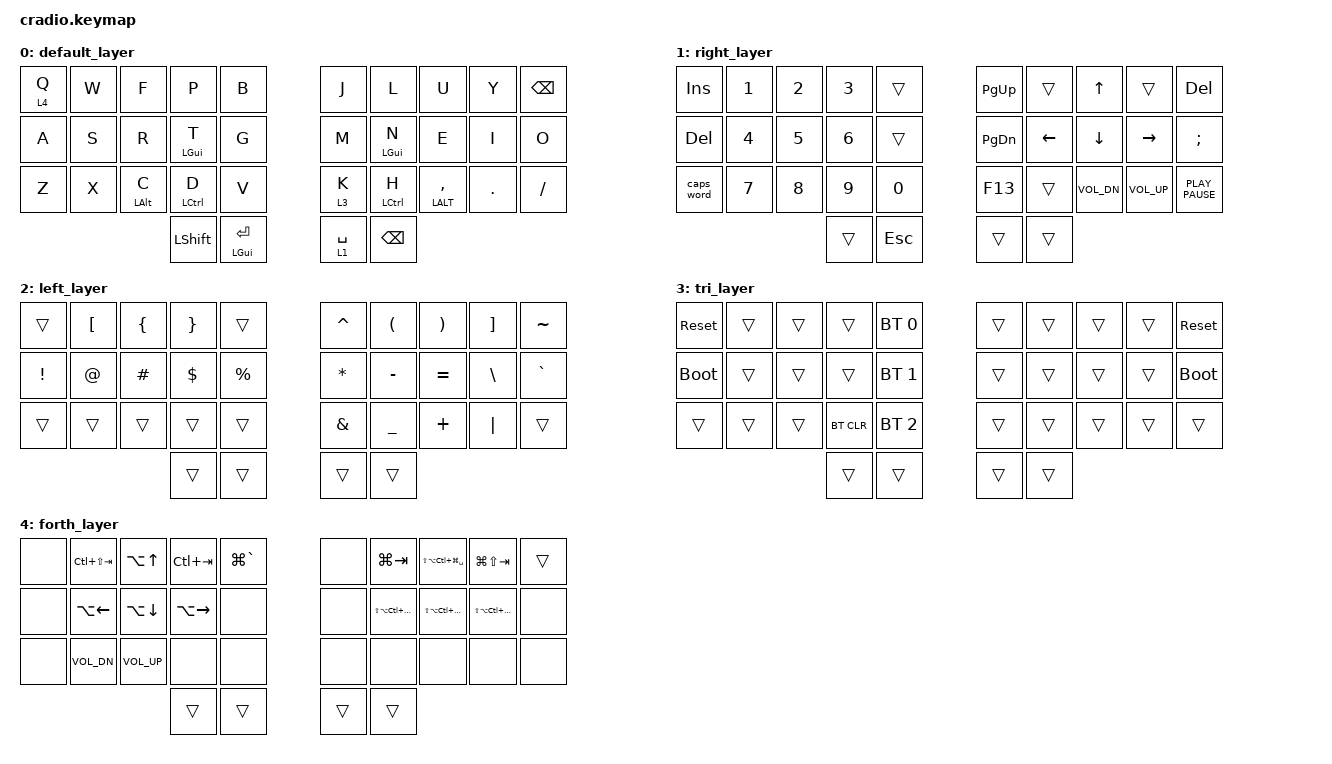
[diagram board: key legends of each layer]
// Copyright (c) 2022 The ZMK Contributors
// SPDX-License-Identifier: MIT

#include <behaviors.dtsi>
#include <dt-bindings/zmk/keys.h>
#include <dt-bindings/zmk/bt.h>

// Home row mods macro
#define HRML(k1,k2,k3,k4) &ht LSHFT k1  &ht LALT k2  &ht LCTRL k3  &ht LGUI k4
#define HRMR(k1,k2,k3,k4) &ht RGUI k1  &ht RCTRL k2  &ht RALT k3  &ht RSHFT k4



/ {

    behaviors {
        ht: hold_tap {
            compatible = "zmk,behavior-hold-tap";
            #binding-cells = <2>;
            flavor = "balanced";
            tapping-term-ms = <200>;
            quick-tap-ms = <125>;
            bindings = <&kp>, <&kp>;
            require-prior-idle-ms = <225>; 
        };
    };


   combos {
        compatible = "zmk,combos";
        combo_esc {
            timeout-ms = <50>;
            key-positions = <2 3>;
            bindings = <&kp ESC>;
        };
        combo_tab {
            timeout-ms = <50>;
            key-positions = <1 3>;
            bindings = <&kp TAB>;
        };
    };


    keymap {
        compatible = "zmk,keymap";
        default_layer {
            bindings = <
        //╭──────────┬──────────┬──────────┬──────────┬──────────╮   ╭──────────┬──────────┬──────────┬──────────┬──────────╮
            &lt 4 Q      &kp W      &kp F     &kp P      &kp B          &kp J      &kp L      &kp U      &kp Y      &kp BSPC
        //├──────────┼──────────┼──────────┼──────────┼──────────┤   ├──────────┼──────────┼──────────┼──────────┼──────────┤
            &kp A        &kp S        &kp  R        &ht LGUI  T     &kp G          &kp M   &ht LGUI N   &kp E   &kp I   &kp O      
        //├──────────┼──────────┼──────────┼──────────┼──────────┤   ├──────────┼──────────┼──────────┼──────────┼──────────┤
            &kp Z      &kp X      &ht LALT C      &ht LCTRL D      &kp V          &lt 3 K      &ht LCTRL H      &lt LALT COMMA  &kp DOT    &kp FSLH
        //╰──────────┴──────────┴──────────┼──────────┼──────────┤   ├──────────┼──────────┼──────────┴──────────┴──────────╯
                                      &kp LSHFT   &ht LGUI ENTER     &lt 1 SPACE  &kp BSPC
        //                                 ╰──────────┴──────────╯   ╰──────────┴──────────╯
            >;
        };

        right_layer {
            bindings = <
        //╭──────────┬──────────┬──────────┬──────────┬──────────╮   ╭──────────┬──────────┬──────────┬──────────┬──────────╮
            &kp INS    &kp N1     &kp N2     &kp N3     &trans         &kp PG_UP   &trans  &kp UP  &trans    &kp DEL
        //├──────────┼──────────┼──────────┼──────────┼──────────┤   ├──────────┼──────────┼──────────┼──────────┼──────────┤
            &kp DEL    &kp N4     &kp N5     &kp N6     &trans         &kp PG_DN   &kp LEFT   &kp DOWN   &kp RIGHT   &kp SEMI
        //├──────────┼──────────┼──────────┼──────────┼──────────┤   ├──────────┼──────────┼──────────┼──────────┼──────────┤
           &caps_word  &kp N7     &kp N8     &kp N9     &kp N0         &kp F13     &trans     &kp C_VOL_DN     &kp C_VOL_UP     &kp K_PLAY_PAUSE
        //╰──────────┴──────────┴──────────┼──────────┼──────────┤   ├──────────┼──────────┼──────────┴──────────┴──────────╯
                                             &trans     &kp ESC        &trans     &trans
        //                                 ╰──────────┴──────────╯   ╰──────────┴──────────╯
            >;
        };

        left_layer {
            bindings = <
        //╭──────────┬──────────┬──────────┬──────────┬──────────╮   ╭──────────┬──────────┬──────────┬──────────┬──────────╮
            &trans     &kp LBKT   &kp LBRC   &kp RBRC   &trans         &kp CARET  &kp LPAR   &kp RPAR   &kp RBKT   &kp TILDE
        //├──────────┼──────────┼──────────┼──────────┼──────────┤   ├──────────┼──────────┼──────────┼──────────┼──────────┤
            &kp EXCL   &kp AT     &kp HASH   &kp DLLR   &kp PRCNT      &kp ASTRK  &kp MINUS  &kp EQUAL  &kp BSLH   &kp GRAVE
        //├──────────┼──────────┼──────────┼──────────┼──────────┤   ├──────────┼──────────┼──────────┼──────────┼──────────┤
            &trans     &trans     &trans     &trans     &trans         &kp AMPS   &kp UNDER  &kp PLUS   &kp PIPE   &trans
        //╰──────────┴──────────┴──────────┼──────────┼──────────┤   ├──────────┼──────────┼──────────┴──────────┴──────────╯
                                             &trans     &trans         &trans     &trans
        //                                 ╰──────────┴──────────╯   ╰──────────┴──────────╯
            >;
        };

        tri_layer {
            bindings = <
        //╭──────────┬──────────┬──────────┬──────────┬──────────╮   ╭──────────┬──────────┬──────────┬──────────┬──────────╮
        //│ RESET    │          │          │          │PROFILE 0 │   │          │          │          │          │  RESET   │
           &sys_reset  &trans     &trans     &trans    &bt BT_SEL 0    &trans     &trans     &trans     &trans    &sys_reset
        //├──────────┼──────────┼──────────┼──────────┼──────────┤   ├──────────┼──────────┼──────────┼──────────┼──────────┤
        //│BOOTLOADER│          │          │          │PROFILE 1 │   │          │          │          │          │BOOTLOADER│
          &bootloader  &trans     &trans     &trans    &bt BT_SEL 1    &trans     &trans     &trans     &trans    &bootloader
        //├──────────┼──────────┼──────────┼──────────┼──────────┤   ├──────────┼──────────┼──────────┼──────────┼──────────┤
        //│          │          │          │ CLEAR BT │PROFILE 2 │   │          │          │          │          │          │
            &trans     &trans     &trans    &bt BT_CLR &bt BT_SEL 2    &trans     &trans     &trans     &trans     &trans
        //╰──────────┴──────────┴──────────┼──────────┼──────────┤   ├──────────┼──────────┼──────────┴──────────┴──────────╯
                                             &trans     &trans         &trans     &trans
        //                                 ╰──────────┴──────────╯   ╰──────────┴──────────╯
            >;
        };

        // LUI
        forth_layer {
            bindings = <


&none   &kp LC(LS(TAB))   &kp LA(UP)    &kp LC(TAB)   &kp LG(GRAVE)   &none   &kp LG(TAB)   &kp LS(LA(LC(LG(SPACE))))   &kp LG(LS(TAB))   &trans
&none   &kp LA(LEFT)   &kp LA(DOWN)   &kp LA(RIGHT)   &none   &none   &kp LS(LA(LC(LG(LEFT))))   &kp LS(LA(LC(LG(DOWN))))   &kp LS(LA(LC(LG(RIGHT))))   &none
&none   &kp C_VOL_DN   &kp C_VOL_UP   &none   &none   &none   &none   &none   &none   &none


        //╭──────────┬──────────┬──────────┬──────────┬──────────╮   ╭──────────┬──────────┬──────────┬──────────┬──────────╮
        //   &trans  &trans     &trans     &trans    &trans    &trans     &trans     &trans     &trans    &trans
        //├──────────┼──────────┼──────────┼──────────┼──────────┤   ├──────────┼──────────┼──────────┼──────────┼──────────┤
        //  &trans  &trans     &trans     &trans    &trans    &trans     &trans     &trans     &trans    &trans
        //├──────────┼──────────┼──────────┼──────────┼──────────┤   ├──────────┼──────────┼──────────┼──────────┼──────────┤
        //    &trans     &trans     &trans    &trans &trans    &trans     &trans     &trans     &trans     &trans
        //╰──────────┴──────────┴──────────┼──────────┼──────────┤   ├──────────┼──────────┼──────────┴──────────┴──────────╯
                                             &trans     &trans         &trans     &trans
        //                                 ╰──────────┴──────────╯   ╰──────────┴──────────╯
            >;
        };
    };
};
